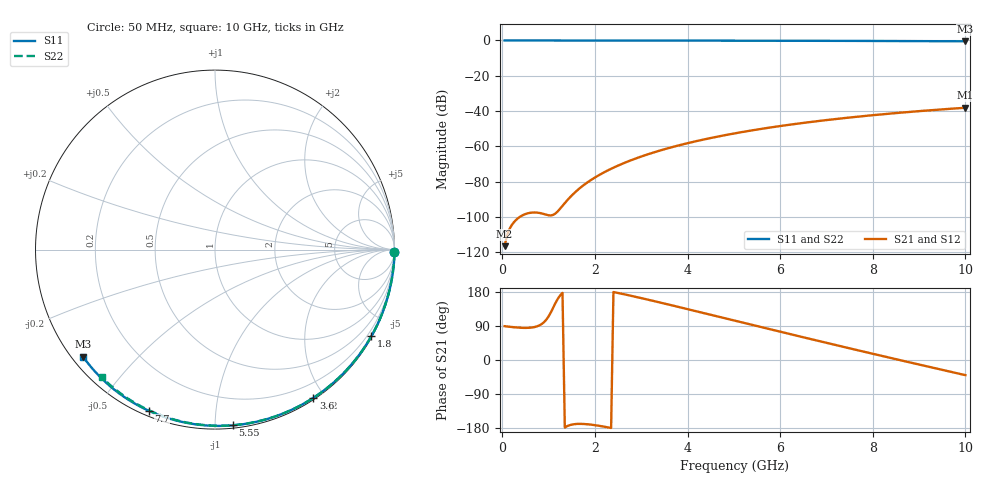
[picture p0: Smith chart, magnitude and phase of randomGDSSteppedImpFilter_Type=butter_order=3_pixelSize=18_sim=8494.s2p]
! freq	dB(S11)	phase(S11)	dB(S12)	phase(S12)
!  dB(S21)	phase(S21)	dB(S22)	phase(S22)
!S-par simulation data
#  GHz  S  DB  R 50
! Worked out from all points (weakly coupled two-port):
!   200 points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, 50 MHz to 10 GHz, reference 50 ohm
!   highest |S21| = -38.12 dB at 10 GHz (marker M1); lowest = -116.5 dB at 50 MHz (marker M2)
!   lowest |S11| = -0.5 dB at 10 GHz (marker M3), VSWR 36.59, Z = 1.54 - j17.7 ohm
!   |S11| at or under -10 dB: nowhere
!   |S22| runs from -0.4 to 0.0 dB; largest |S21 - S12| = 0
!   S11 on the Smith chart (normalised r, x): 50 MHz: open; 1.8 GHz: 0.03, -3.88; 3.6 GHz: 0.02, -1.86; 5.55 GHz: 0.02, -1.11; 7.7 GHz: 0.02, -0.67; 10 GHz: 0.03, -0.35
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0.05  -0.00 -0.8  -116.50 89.2  -116.50 89.2  -0.00 -0.8
0.45  -0.01 -7.3  -98.86 84.8  -98.86 84.8  -0.01 -6.8
0.9  -0.02 -14.6  -98.33 99.7  -98.33 99.7  -0.02 -13.6
1.3  -0.03 -21.0  -93.64 177.1  -93.64 177.1  -0.02 -19.6
1.75  -0.04 -28.1  -82.07 -168.8  -82.07 -168.8  -0.03 -26.2
1.8  -0.04 -28.9  -81.10 -169.2  -81.10 -169.2  -0.03 -27.0
1.85  -0.04 -29.7  -80.17 -169.7  -80.17 -169.7  -0.04 -27.7
2.2  -0.04 -35.1  -74.66 -175.9  -74.66 -175.9  -0.04 -32.8
2.55  -0.05 -40.6  -70.28 175.6  -70.28 175.6  -0.05 -37.9
2.95  -0.06 -46.7  -66.20 164.8  -66.20 164.8  -0.06 -43.6
3.4  -0.07 -53.4  -62.38 151.9  -62.38 151.9  -0.07 -50.0
3.6  -0.08 -56.4  -60.88 146.1  -60.88 146.1  -0.07 -52.8
3.9  -0.08 -60.8  -58.83 137.2  -58.83 137.2  -0.08 -56.9
4.3  -0.09 -66.6  -56.37 125.3  -56.37 125.3  -0.09 -62.3
5.05  -0.12 -77.2  -52.47 103.0  -52.47 103.0  -0.11 -72.3
5.55  -0.14 -84.1  -50.25 88.1  -50.25 88.1  -0.13 -78.8
6.1  -0.16 -91.5  -48.10 71.7  -48.10 71.7  -0.15 -85.8
6.7  -0.19 -99.5  -46.03 54.1  -46.03 54.1  -0.18 -93.2
7.7  -0.26 -112.3  -43.10 25.0  -43.10 25.0  -0.24 -105.2
8.35  -0.31 -120.5  -41.47 6.4  -41.47 6.4  -0.29 -112.9
9.2  -0.39 -131.0  -39.62 -17.6  -39.62 -17.6  -0.36 -122.6
10  -0.47 -140.9  -38.12 -40.0  -38.12 -40.0  -0.45 -131.7
